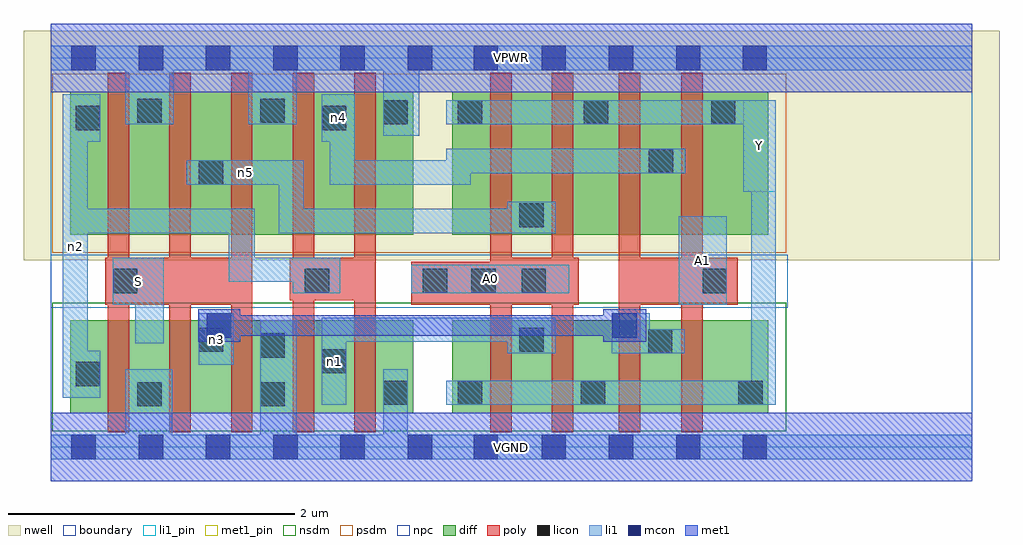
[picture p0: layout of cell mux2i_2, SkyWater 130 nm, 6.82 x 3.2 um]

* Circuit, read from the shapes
.subckt mux2i_2 A0 A1 S VGND VPWR Y n1 n2 n3 n4 n5
XM1 VGND S n2 VSUBS sky130_fd_pr__nfet_01v8 w=0.65 l=0.15
XM2 n3 S VGND VSUBS sky130_fd_pr__nfet_01v8 w=0.65 l=0.15 m=2
XM3 n1 n2 VGND VSUBS sky130_fd_pr__nfet_01v8 w=0.65 l=0.15 m=2
XM4 n1 A0 Y VSUBS sky130_fd_pr__nfet_01v8 w=0.65 l=0.15 m=2
XM5 n3 A1 Y VSUBS sky130_fd_pr__nfet_01v8 w=0.65 l=0.15 m=2
XM6 VPWR S n2 n6 sky130_fd_pr__pfet_01v8 w=1 l=0.15
XM7 n5 S VPWR n6 sky130_fd_pr__pfet_01v8 w=1 l=0.15 m=2
XM8 n4 n2 VPWR n6 sky130_fd_pr__pfet_01v8 w=1 l=0.15 m=2
XM9 n5 A0 Y n6 sky130_fd_pr__pfet_01v8 w=1 l=0.15 m=2
XM10 n4 A1 Y n6 sky130_fd_pr__pfet_01v8 w=1 l=0.15 m=2
.ends

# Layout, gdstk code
import gdstk
lib = gdstk.Library(unit=1e-6, precision=1e-09)
def R(c, l, rs):  # rectangles x0, y0, x1, y1
    for r in rs: c.add(gdstk.rectangle(r[:2], r[2:], *l))
def A(c, l, x, y, w, h, nx, ny, dx, dy):  # array of equal rectangles
    R(c, l, [(x+i*dx, y+j*dy, x+i*dx+w, y+j*dy+h) for i in range(nx) for j in range(ny)])
nwell = (64, 20)
diff = (65, 20)
poly = (66, 20)
licon = (66, 44)
li1_pin = (67, 16)
li1 = (67, 20)
mcon = (67, 44)
met1_pin = (68, 16)
met1 = (68, 20)
nsdm = (93, 44)
psdm = (94, 20)
npc = (95, 20)
boundary = (235, 4)

mux2i_2 = lib.new_cell('mux2i_2')
R(mux2i_2, nwell, [(-0.19,1.305,6.63,2.91), (0,1.305,6.44,2.91)])
R(mux2i_2, diff, [(0.135,0.235,2.535,0.885), (2.805,0.235,5.015,0.885), (0.135,1.485,2.535,2.485), (2.805,1.485,5.015,2.485)])
A(mux2i_2, poly, 0.4, 0.105, 0.15, 2.51, 5, 1, 0.43, 0)
R(mux2i_2, poly, [(3.07,0.105,3.22,2.615), (3.5,0.105,3.65,2.615), (3.97,0.105,4.12,2.615), (4.405,0.105,4.555,2.615), (0.38,0.995,1.41,1.325), (2.52,0.995,3.69,1.295), (3.07,0.995,3.69,1.325), (3.97,0.995,4.8,1.325), (1.67,1.025,2.27,1.325)])
R(mux2i_2, licon, [(0.605,0.285,0.775,0.455), (1.465,0.285,1.635,0.455), (2.325,0.295,2.495,0.465), (2.845,0.295,3.015,0.465), (3.705,0.295,3.875,0.465), (4.805,0.295,4.975,0.465), (0.175,0.425,0.345,0.595), (1.895,0.515,2.065,0.685), (1.465,0.625,1.635,0.795), (4.175,0.655,4.345,0.825), (1.035,0.665,1.205,0.835), (3.275,0.665,3.445,0.835), (0.435,1.075,0.605,1.245), (1.775,1.075,1.945,1.245), (2.6,1.075,2.77,1.245), (2.94,1.075,3.11,1.245), (3.29,1.075,3.46,1.245), (4.555,1.075,4.725,1.245), (3.275,1.535,3.445,1.705), (1.035,1.835,1.205,2.005), (4.18,1.915,4.35,2.085), (0.175,2.215,0.345,2.385), (1.895,2.215,2.065,2.385), (2.325,2.255,2.495,2.425), (2.845,2.255,3.015,2.425), (3.725,2.255,3.895,2.425), (4.615,2.255,4.785,2.425), (0.605,2.265,0.775,2.435), (1.465,2.265,1.635,2.435)])
R(mux2i_2, li1_pin, [(0.435,0.995,0.79,1.325), (4.39,0.995,4.725,1.615), (2.52,1.075,3.625,1.275), (4.84,1.785,5.065,2.425)])
R(mux2i_2, li1, [(0,-0.085,6.44,0.085), (0.52,-0.085,0.85,0.545), (1.465,-0.085,1.72,0.885), (2.325,-0.085,2.495,0.545), (1.895,0.295,2.065,0.905), (2.765,0.295,5.065,0.465), (4.895,0.295,5.065,2.425), (0.085,0.345,0.26,2.465), (0.085,0.345,0.345,0.675), (1.035,0.575,1.28,0.935), (3.19,0.655,3.53,0.905), (3.92,0.655,4.43,0.825), (3.92,0.655,4.185,0.935), (0.59,0.725,0.79,1.325), (1.895,0.735,3.53,0.905), (0.435,0.995,0.79,1.325), (4.39,0.995,4.725,1.615), (1.69,1.075,2.025,1.325), (2.52,1.075,3.625,1.275), (1.245,1.155,2.025,1.325), (1.245,1.155,1.425,1.665), (0.085,1.495,1.425,1.665), (1.595,1.495,3.53,1.665), (1.595,1.495,1.77,2.005), (3.19,1.495,3.53,1.715), (4.84,1.785,5.065,2.425), (0.95,1.835,1.77,2.005), (1.95,1.835,2.935,2.005), (1.95,1.835,2.125,2.465), (2.935,1.915,4.435,2.085), (2.765,2.005,4.435,2.085), (0.085,2.135,0.345,2.465), (1.895,2.135,2.125,2.465), (2.325,2.175,2.575,2.805), (0.52,2.255,0.86,2.805), (1.38,2.255,1.72,2.805), (2.765,2.255,5.065,2.425), (0,2.635,6.44,2.805)])
A(mux2i_2, mcon, 0.145, -0.085, 0.17, 0.17, 6, 2, 0.47, 2.72)
A(mux2i_2, mcon, 3.43, -0.085, 0.17, 0.17, 3, 2, 0.47, 2.72)
R(mux2i_2, mcon, [(2.955,-0.085,3.125,0.085), (4.835,-0.085,5.005,0.085), (1.09,0.765,1.26,0.935), (3.925,0.765,4.095,0.935), (2.955,2.635,3.125,2.805), (4.835,2.635,5.005,2.805)])
R(mux2i_2, met1_pin, [(0,-0.24,6.44,0.24), (0,2.48,6.44,2.96)])
R(mux2i_2, met1, [(0,-0.24,6.44,0.24), (1.03,0.735,1.325,0.965), (3.86,0.735,4.16,0.965), (1.03,0.78,4.16,0.92), (0,2.48,6.44,2.96)])
R(mux2i_2, nsdm, [(0.01,0.11,5.14,1.01)])
R(mux2i_2, psdm, [(0.01,1.36,5.14,2.61)])
R(mux2i_2, npc, [(0,0.975,5.15,1.345)])
R(mux2i_2, boundary, [(0,0,6.44,2.72)])
mux2i_2.add(gdstk.Label('A0', (3.072,1.175), layer=67, texttype=5))
mux2i_2.add(gdstk.Label('A1', (4.557,1.305), layer=67, texttype=5))
mux2i_2.add(gdstk.Label('S', (0.612,1.16), layer=67, texttype=5))
mux2i_2.add(gdstk.Label('Y', (4.952,2.105), layer=67, texttype=5))
mux2i_2.add(gdstk.Label('n1', (1.98,0.6), layer=67, texttype=5))
mux2i_2.add(gdstk.Label('n3', (1.157,0.755), layer=67, texttype=5))
mux2i_2.add(gdstk.Label('n5', (1.36,1.92), layer=67, texttype=5))
mux2i_2.add(gdstk.Label('n2', (0.172,1.405), layer=67, texttype=5))
mux2i_2.add(gdstk.Label('n4', (2.01,2.3), layer=67, texttype=5))
mux2i_2.add(gdstk.Label('VPWR', (3.22,2.72), layer=68, texttype=5))
mux2i_2.add(gdstk.Label('VGND', (3.22,0), layer=68, texttype=5))
mux2i_2.add(gdstk.Label('A0', (3.072,1.175), layer=67, texttype=16))
mux2i_2.add(gdstk.Label('A1', (4.557,1.305), layer=67, texttype=16))
mux2i_2.add(gdstk.Label('S', (0.612,1.16), layer=67, texttype=16))
mux2i_2.add(gdstk.Label('Y', (4.952,2.105), layer=67, texttype=16))
mux2i_2.add(gdstk.Label('VPWR', (3.22,2.72), layer=68, texttype=16))
mux2i_2.add(gdstk.Label('VGND', (3.22,0), layer=68, texttype=16))

lib.write_gds('mux2i_2.gds')
